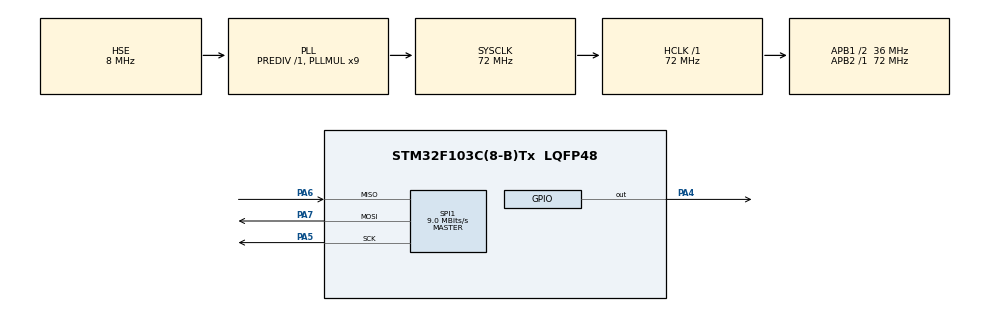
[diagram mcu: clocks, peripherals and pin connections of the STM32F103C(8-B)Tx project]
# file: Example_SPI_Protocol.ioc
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Mcu.Family=STM32F1
Mcu.Name=STM32F103C(8-B)Tx
Mcu.Package=LQFP48
NVIC.PriorityGroup=NVIC_PRIORITYGROUP_4
PA13.Mode=Serial_Wire
PA13.Signal=SYS_JTMS-SWDIO
PA14.Mode=Serial_Wire
PA14.Signal=SYS_JTCK-SWCLK
PA4.GPIO_Speed=GPIO_SPEED_FREQ_HIGH
PA4.PinState=GPIO_PIN_SET
PA4.Signal=GPIO_Output
PA5.Mode=Full_Duplex_Master
PA5.Signal=SPI1_SCK
PA6.Mode=Full_Duplex_Master
PA6.Signal=SPI1_MISO
PA7.Mode=Full_Duplex_Master
PA7.Signal=SPI1_MOSI
PD0-OSC_IN.Mode=HSE-External-Oscillator
PD0-OSC_IN.Signal=RCC_OSC_IN
PD1-OSC_OUT.Mode=HSE-External-Oscillator
PD1-OSC_OUT.Signal=RCC_OSC_OUT
ProjectManager.HeapSize=0x200
ProjectManager.StackSize=0x400
ProjectManager.TargetToolchain=CMake
RCC.AHBFreq_Value=72000000
RCC.APB1CLKDivider=RCC_HCLK_DIV2
RCC.APB1Freq_Value=36000000
RCC.APB1TimFreq_Value=72000000
RCC.APB2Freq_Value=72000000
RCC.APB2TimFreq_Value=72000000
RCC.HCLKFreq_Value=72000000
RCC.PLLMUL=RCC_PLL_MUL9
RCC.PLLSourceVirtual=RCC_PLLSOURCE_HSE
RCC.SYSCLKFreq_VALUE=72000000
RCC.SYSCLKSource=RCC_SYSCLKSOURCE_PLLCLK
RCC.USBFreq_Value=72000000
SPI1.BaudRatePrescaler=SPI_BAUDRATEPRESCALER_8
SPI1.CalculateBaudRate=9.0 MBits/s
SPI1.Direction=SPI_DIRECTION_2LINES
SPI1.Mode=SPI_MODE_MASTER
SPI1.VirtualType=VM_MASTER
board=custom

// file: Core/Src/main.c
/* USER CODE BEGIN Header */
/**
  ******************************************************************************
  * @file           : main.c
  * @brief          : Main program body
  ******************************************************************************
  * @attention
  *
  * Copyright (c) 2024 STMicroelectronics.
  * All rights reserved.
  *
  * This software is licensed under terms that can be found in the LICENSE file
  * in the root directory of this software component.
  * If no LICENSE file comes with this software, it is provided AS-IS.
  *
  ******************************************************************************
  */
/* USER CODE END Header */
#include "main.h"

/* USER CODE BEGIN Includes */
#include "L3G4200D_HAL_SPI.h"
/* USER CODE END Includes */

SPI_HandleTypeDef hspi1;

void SystemClock_Config(void);
static void MX_GPIO_Init(void);
static void MX_SPI1_Init(void);

/* USER CODE BEGIN 0 */
L3G4200D_SPI4W_Typedef Sensor;
DevMod_Typedef User_Mod = {
   .reg1 = {
       .CTRL_REG1_Bits.data_rate = OUTPUT_DATA_RATE_100,
       .CTRL_REG1_Bits.bandwidth = BANDWIDTH_1,
       .CTRL_REG1_Bits.pwr_mode = PWR_NORMAL_MODE,
       .CTRL_REG1_Bits.x_axis_status = ENABLE_X_AXIS,
       .CTRL_REG1_Bits.y_axis_status = ENABLE_Y_AXIS,
       .CTRL_REG1_Bits.z_axis_status = ENABLE_Z_AXIS
   },
   .reg2 = {
       .CTRL_REG2_Bits.cutoff_frequency = HIGH_PASS_FILTER_CUT_OFF_FREQUENCY_5,
       .CTRL_REG2_Bits.high_pass_filter_mode = NORMAL_MODE
   },
   .reg3 = {
       .CTRL_REG3_Bits.boot_available_int1_pin_status = DISABLE_BOOT_STATUS_ON_INT1,
       .CTRL_REG3_Bits.data_rdy_int2_pin_status = DISABLE_DATA_RDY_ON_INT2,
       .CTRL_REG3_Bits.itr_active_int1_pin_level = ITR_ACTIVE_ON_INT1_HIGH,
       .CTRL_REG3_Bits.itr_fifo_empty_int2_pin_status = DISABLE_ITR_FIFO_EMPTY_ON_INT2,
       .CTRL_REG3_Bits.itr_fifo_overun_int2_pin_status = DISABLE_ITR_FIFO_ORUN_ON_INT2,
       .CTRL_REG3_Bits.itr_fifo_wtm_int2_pin_status = DISABLE_ITR_FIFO_WTM_ON_INT2,
       .CTRL_REG3_Bits.itr_int1_pin_status = DISABLE_ITR_ON_INT1,
       .CTRL_REG3_Bits.pushpull_opendrain_mode = PUSH_PULL_ENABLE
   },
   .reg4 = {
       .CTRL_REG4_Bits.data_update_mode = DBU_CONTINUOUS_UPDATE,
       .CTRL_REG4_Bits.full_scale_value = FULL_SCALE_MODE_1,
       .CTRL_REG4_Bits.self_test_mode = SELF_TEST_NORMAL_MODE,
       .CTRL_REG4_Bits.sort_data_mode = BLE_DATA_LSB_LOW_ADD,
       .CTRL_REG4_Bits.spi_interface_mode = SPI_INTERFACE_4WIRE_MODE
   },
   .reg5 = {
       .CTRL_REG5_Bits.fifo_status = DISABLE_FIFO,
       .CTRL_REG5_Bits.high_pass_filter_status = DISABLE_HIGH_PASS_FILTER,
       .CTRL_REG5_Bits.int1_pin_mode = INT1_SELECT_MODE_1,
       .CTRL_REG5_Bits.out_mode = OUT_SELECT_MODE_1,
       .CTRL_REG5_Bits.reboot_mode = BOOT_NORMAL_MODE
   },
   .fifo_ctr_conf = {
       .FIFO_CTRL_REG_Bits.fifo_mode = FIFO_BYPASS_MODE,
       .FIFO_CTRL_REG_Bits.wtm_level = DEFAULT_VALUE          /* Set by user. Value: [0:31] */
   },
   .int1_conf = {
       .INT1_CFG_Bits.AND_OR_mode_select = ENABLE_OR_COMBINATION_INTERRUPT_EVENT,
       .INT1_CFG_Bits.itr_X_high_event_status = DISABLE_INTERRUPT_X_HIGH_EVENT,
       .INT1_CFG_Bits.itr_X_low_event_status = DISABLE_INTERRUPT_X_LOW_EVENT,
       .INT1_CFG_Bits.itr_Y_high_event_status = DISABLE_INTERRUPT_Y_HIGH_EVENT,
       .INT1_CFG_Bits.itr_Y_low_event_status = DISABLE_INTERRUPT_Y_LOW_EVENT,
       .INT1_CFG_Bits.itr_Z_high_event_status = DISABLE_INTERRUPT_Z_HIGH_EVENT,
       .INT1_CFG_Bits.itr_Z_low_event_status = DISABLE_INTERRUPT_Z_LOW_EVENT,
       .INT1_CFG_Bits.latch_itr_status = DISABLE_INTERRUPT_REQUEST_LATCH
   },
   .int1_dura = {
       .INT1_DURATION_Bits.wait_status = DISABLE_WAIT_MODE,
       .INT1_DURATION_Bits.wait_time = DEFAULT_VALUE         /* Set by user. Value: [0:127] */
   },
   .ref_conf = {
       .ref_value = DEFAULT_VALUE         /* Set by user. Value: [0:255] */
   },
   .ths_xh = {
       .value = DEFAULT_VALUE             /* Set by user. Value: [0:127] */
   },
   .ths_xl = {
       .value = DEFAULT_VALUE             /* Set by user. Value: [0:255] */
   },
   .ths_yh = {
       .value = DEFAULT_VALUE             /* Set by user. Value: [0:127] */
   },
   .ths_yl = {
       .value = DEFAULT_VALUE             /* Set by user. Value: [0:255] */
   },
   .ths_zh = {
       .value = DEFAULT_VALUE             /* Set by user. Value: [0:127] */
   },
   .ths_zl = {
       .value = DEFAULT_VALUE             /* Set by user. Value: [0:255] */
   }
};
/* USER CODE END 0 */

int main(void)
{

  /* MCU Configuration--------------------------------------------------------*/

  /* Reset of all peripherals, Initializes the Flash interface and the Systick. */
  HAL_Init();

  /* Configure the system clock */
  SystemClock_Config();

  /* Initialize all configured peripherals */
  MX_GPIO_Init();
  MX_SPI1_Init();
  /* USER CODE BEGIN 2 */
  L3G4200D_SPI_4WIRE_Init(&Sensor, &hspi1, &User_Mod, GPIOA, GPIO_PIN_4);
  /* USER CODE END 2 */

  /* Infinite loop */
  /* USER CODE BEGIN WHILE */
  while (1)
  {
    L3G4200D_SPI_4WIRE_GetTemperature(&Sensor);
    L3G4200D_SPI_4WIRE_Get_X_Axis_Accelerations(&Sensor);
    L3G4200D_SPI_4WIRE_Get_Y_Axis_Accelerations(&Sensor);
    L3G4200D_SPI_4WIRE_Get_Z_Axis_Accelerations(&Sensor);
    /* USER CODE END WHILE */

  }
}

void SystemClock_Config(void)
{
  RCC_OscInitTypeDef RCC_OscInitStruct = {0};
  RCC_ClkInitTypeDef RCC_ClkInitStruct = {0};

  /** Initializes the RCC Oscillators according to the specified parameters
  * in the RCC_OscInitTypeDef structure.
  */
  RCC_OscInitStruct.OscillatorType = RCC_OSCILLATORTYPE_HSE;
  RCC_OscInitStruct.HSEState = RCC_HSE_ON;
  RCC_OscInitStruct.HSEPredivValue = RCC_HSE_PREDIV_DIV1;
  RCC_OscInitStruct.HSIState = RCC_HSI_ON;
  RCC_OscInitStruct.PLL.PLLState = RCC_PLL_ON;
  RCC_OscInitStruct.PLL.PLLSource = RCC_PLLSOURCE_HSE;
  RCC_OscInitStruct.PLL.PLLMUL = RCC_PLL_MUL9;
  if (HAL_RCC_OscConfig(&RCC_OscInitStruct) != HAL_OK)
  {
    Error_Handler();
  }

  /** Initializes the CPU, AHB and APB buses clocks
  */
  RCC_ClkInitStruct.ClockType = RCC_CLOCKTYPE_HCLK|RCC_CLOCKTYPE_SYSCLK
                              |RCC_CLOCKTYPE_PCLK1|RCC_CLOCKTYPE_PCLK2;
  RCC_ClkInitStruct.SYSCLKSource = RCC_SYSCLKSOURCE_PLLCLK;
  RCC_ClkInitStruct.AHBCLKDivider = RCC_SYSCLK_DIV1;
  RCC_ClkInitStruct.APB1CLKDivider = RCC_HCLK_DIV2;
  RCC_ClkInitStruct.APB2CLKDivider = RCC_HCLK_DIV1;

  if (HAL_RCC_ClockConfig(&RCC_ClkInitStruct, FLASH_LATENCY_2) != HAL_OK)
  {
    Error_Handler();
  }
}

static void MX_SPI1_Init(void)
{

  /* SPI1 parameter configuration*/
  hspi1.Instance = SPI1;
  hspi1.Init.Mode = SPI_MODE_MASTER;
  hspi1.Init.Direction = SPI_DIRECTION_2LINES;
  hspi1.Init.DataSize = SPI_DATASIZE_8BIT;
  hspi1.Init.CLKPolarity = SPI_POLARITY_LOW;
  hspi1.Init.CLKPhase = SPI_PHASE_1EDGE;
  hspi1.Init.NSS = SPI_NSS_SOFT;
  hspi1.Init.BaudRatePrescaler = SPI_BAUDRATEPRESCALER_8;
  hspi1.Init.FirstBit = SPI_FIRSTBIT_MSB;
  hspi1.Init.TIMode = SPI_TIMODE_DISABLE;
  hspi1.Init.CRCCalculation = SPI_CRCCALCULATION_DISABLE;
  hspi1.Init.CRCPolynomial = 10;
  if (HAL_SPI_Init(&hspi1) != HAL_OK)
  {
    Error_Handler();
  }

}

static void MX_GPIO_Init(void)
{
  GPIO_InitTypeDef GPIO_InitStruct = {0};

  /* GPIO Ports Clock Enable */
  __HAL_RCC_GPIOD_CLK_ENABLE();
  __HAL_RCC_GPIOA_CLK_ENABLE();

  /*Configure GPIO pin Output Level */
  HAL_GPIO_WritePin(GPIOA, GPIO_PIN_4, GPIO_PIN_SET);

  /*Configure GPIO pin : PA4 */
  GPIO_InitStruct.Pin = GPIO_PIN_4;
  GPIO_InitStruct.Mode = GPIO_MODE_OUTPUT_PP;
  GPIO_InitStruct.Pull = GPIO_NOPULL;
  GPIO_InitStruct.Speed = GPIO_SPEED_FREQ_HIGH;
  HAL_GPIO_Init(GPIOA, &GPIO_InitStruct);

}

void Error_Handler(void)
{
  __disable_irq();
  while (1)
  {
  }
}
